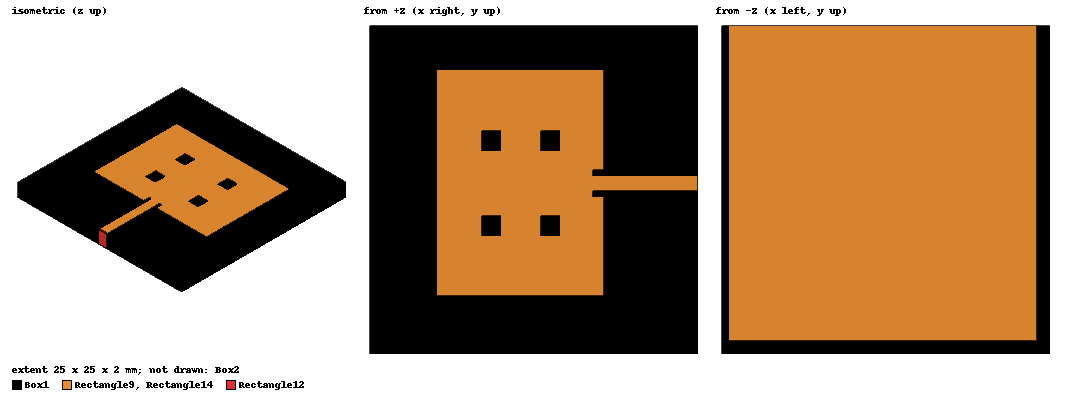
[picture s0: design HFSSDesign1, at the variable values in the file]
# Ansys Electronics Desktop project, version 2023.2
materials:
  vacuum: permittivity=1
  air: permittivity=1.0006 permeability=1.0000004
  FR4_epoxy: permittivity=4.4 dielectric_loss_tangent=0.02
  Rogers RO4350 (tm): permittivity=3.66 dielectric_loss_tangent=0.004

design HFSSDesign1 (HFSS, HFSS Modal Network, model units mm)
options: Save_Adaptive_support_files
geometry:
  Box1 [FR4_epoxy] = box(corner=(-10mm, -12mm, 0mm), size=(25mm, 25mm, -2mm))
  Rectangle9 = rectangle(corner=(-10mm, -12mm, -2mm), x_size=23.5mm, y_size=24mm)
  Box2 [air] = box(corner=(-15mm, -25mm, 10mm), size=(35mm, 50mm, -20mm))
  Rectangle12 = rectangle(corner=(14.5mm, -0.6mm, 0mm), y_size=1.2mm, z_size=-2mm)
  Rectangle14 = rectangle(corner=(5.5mm, -0.6mm, 0mm), x_size=8mm, y_size=1.2mm)
  Rectangle16 = rectangle(corner=(-3mm, -4mm, 0mm), x_size=1.5mm, y_size=1.5mm)
  Rectangle17 = rectangle(corner=(-3mm, 2.5mm, 0mm), x_size=1.5mm, y_size=1.5mm)
  Rectangle18 = rectangle(corner=(1.5mm, -4mm, 0mm), x_size=1.5mm, y_size=1.5mm)
  Rectangle19 = rectangle(corner=(1.5mm, 2.5mm, 0mm), x_size=1.5mm, y_size=1.5mm)
  Rectangle20 = rectangle(corner=(-6.36mm, -8.61mm, 0mm), x_size=12.724164mm, y_size=17.22398mm)
  Rectangle21 = rectangle(corner=(7mm, -1mm, 0mm), x_size=-2mm, y_size=2mm)
  Rectangle21.move(-1.4mm, 0mm, 0mm)
  Rectangle21.move(1.9mm, 0mm, 0mm)
  Rectangle20.subtract(Rectangle16..Rectangle19, Rectangle21)
  Rectangle14.unite(Rectangle20)
  Box1.move(-1mm, -1mm, 0mm)
  Rectangle14.move(0mm, 0mm, 0mm)
  Rectangle14.move(0.5mm, 0mm, 0mm)
  Rectangle12.move(-0.5mm, 0mm, 0mm)
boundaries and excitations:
  PerfE2: Perfect E Objects=Rectangle9
  Rad1: Radiation Faces=Box2.face(all 6)
  PerfE3: Perfect E Objects=Rectangle14
  1: Lumped Port Objects=Rectangle12 LumpedPortType=Modal Modes{Mode1{IntLine{(14, -0.063, -2) -> (14, 0, 0)} CharImp=Zpi RenormImp=50ohm}} Impedance=50ohm
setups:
  Setup2: HfssDriven Frequency=5.3GHz MaxDeltaS=0.02 MaximumPasses=8 MinimumPasses=1 MinimumConvergedPasses=1 PercentRefinement=30 BasisOrder=1 PortAccuracy=2 DrivenSolverType="Direct Solver"
    sweep Sweep: 1GHz to 10GHz, 451 points; Type=Fast SaveFields
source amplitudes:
  1:1: 1W 0deg
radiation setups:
  Infinite Sphere1: Infinite Sphere Theta=0deg..180deg step 10deg Phi=0deg..360deg step 10deg
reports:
  S Parameter Plot 1: dB(S(1,1)) vs Freq on Setup2 : Sweep; markers m1 at 3.68GHz, m2 at 3.9083408GHz, m3 at 3.78GHz
  VSWR Plot 1: dB(VSWR(1)) vs Freq on Setup2 : Sweep
  Gain Plot 1: dB(GainTotal) vs Phi, Theta on Setup2 : LastAdaptive, Infinite Sphere1 [Freq=5.3GHz]
  S Parameter Plot 2: dB(S(1,1)) vs Freq on Setup2 : Sweep
  Gain Plot 2: GainTotal vs Phi, Theta on Setup2 : LastAdaptive, Infinite Sphere1 [Freq=5.3GHz]
